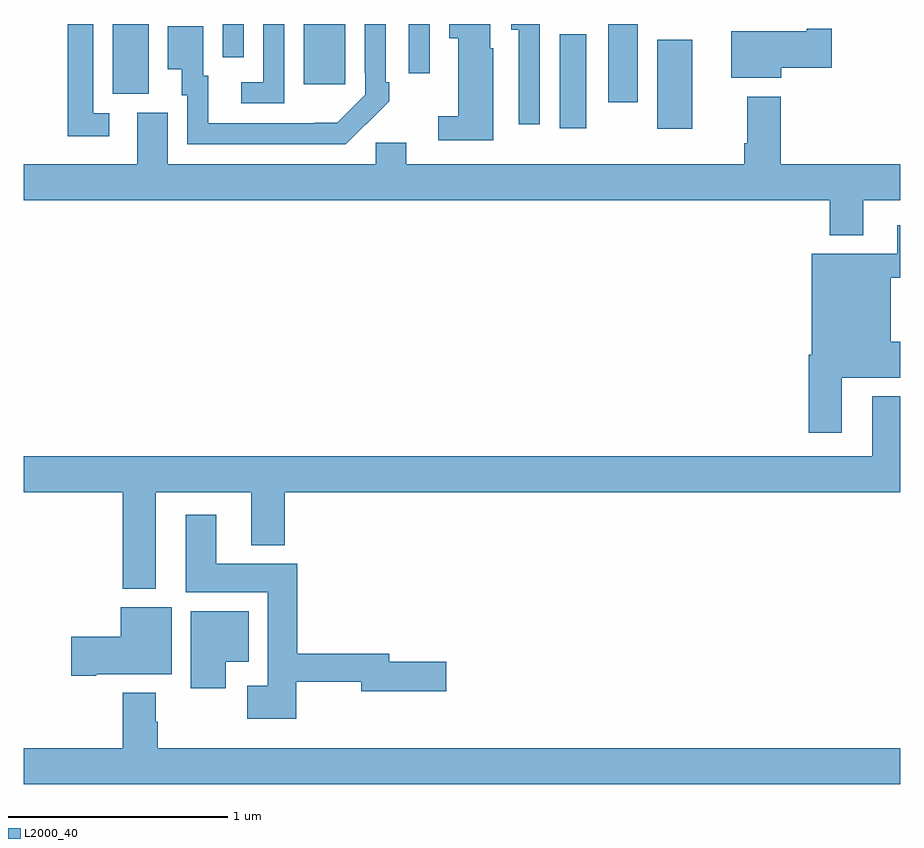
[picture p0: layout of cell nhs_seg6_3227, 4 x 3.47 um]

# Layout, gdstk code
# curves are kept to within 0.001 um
import gdstk
lib = gdstk.Library(unit=1e-6, precision=1e-09)
def R(c, l, rs):  # rectangles x0, y0, x1, y1
    for r in rs: c.add(gdstk.rectangle(r[:2], r[2:], *l))
def P(c, l, *ps):  # polygons
    for p in ps: c.add(gdstk.Polygon(p, *l))
L2000_40 = (2000, 40)

nhs_seg6_3227 = lib.new_cell('nhs_seg6_3227')
R(nhs_seg6_3227, L2000_40, [(303.89,921.021,304.051,921.427), (303.446,921.024,303.568,921.454), (303.668,921.144,303.802,921.5), (301.406,921.181,301.57,921.5), (302.279,921.225,302.467,921.499), (302.757,921.276,302.853,921.5), (301.908,921.348,302.004,921.5)])
P(nhs_seg6_3227, L2000_40, [(303.354,921.5),(303.224,921.5),(303.224,921.473),(303.258,921.473),(303.258,921.042),(303.354,921.042)],
  [(302.561,921.043),(302.562,921.042),(302.667,921.147),(302.667,921.235),(302.652,921.235),(302.652,921.5),(302.556,921.5),(302.556,921.277),(302.559,921.277),(302.559,921.177),(302.431,921.049),(301.843,921.048),(301.843,921.264),(301.819,921.264),(301.819,921.49),(301.658,921.49),(301.658,921.293),(301.721,921.293),(301.721,921.174),(301.746,921.174),(301.746,920.952),(302.47,920.952)],
  [(302.19,921.5),(302.094,921.5),(302.094,921.234),(301.992,921.234),(301.992,921.138),(302.19,921.138)],
  [(303.142,921.39),(303.13,921.39),(303.13,921.5),(302.942,921.5),(302.942,921.434),(302.984,921.434),(302.984,921.079),(302.892,921.079),(302.892,920.97),(303.142,920.97)],
  [(301.39,921.093),(301.317,921.093),(301.317,921.5),(301.201,921.5),(301.201,920.988),(301.39,920.988)],
  [(304.456,921.301),(304.687,921.301),(304.687,921.479),(304.574,921.479),(304.574,921.466),(304.229,921.466),(304.229,921.254),(304.456,921.254)],
  [(304.831,920.696),(305,920.696),(305,920.86),(304.454,920.86),(304.454,921.169),(304.301,921.169),(304.301,920.956),(304.289,920.956),(304.289,920.86),(302.746,920.86),(302.746,920.958),(302.607,920.958),(302.607,920.86),(301.657,920.86),(301.657,921.096),(301.517,921.096),(301.517,920.86),(301,920.86),(301,920.696),(304.679,920.696),(304.679,920.537),(304.831,920.537)],
  [(304.732,919.886),(305,919.886),(305,920.05),(304.957,920.05),(304.957,920.343),(305,920.343),(305,920.581),(304.985,920.581),(304.985,920.452),(304.595,920.452),(304.595,919.99),(304.583,919.99),(304.583,919.635),(304.732,919.635)],
  [(301.603,919.364),(302.039,919.364),(302.039,919.121),(302.192,919.121),(302.192,919.364),(305,919.364),(305,919.801),(304.871,919.801),(304.871,919.528),(301,919.528),(301,919.364),(301.451,919.364),(301.451,918.923),(301.603,918.923)],
  [(302.244,918.498),(302.54,918.498),(302.54,918.455),(302.929,918.455),(302.929,918.59),(302.668,918.59),(302.668,918.626),(302.249,918.626),(302.249,919.036),(301.879,919.036),(301.879,919.261),(301.739,919.261),(301.739,918.908),(302.114,918.908),(302.114,918.481),(302.019,918.481),(302.019,918.329),(302.244,918.329)],
  [(301.33,918.533),(301.675,918.533),(301.675,918.838),(301.442,918.838),(301.442,918.704),(301.218,918.704),(301.218,918.526),(301.33,918.526)],
  [(301.921,918.59),(302.026,918.59),(302.026,918.82),(301.763,918.82),(301.763,918.468),(301.921,918.468)],
  [(305,918.196),(301.611,918.196),(301.611,918.317),(301.603,918.317),(301.603,918.448),(301.451,918.448),(301.451,918.196),(301,918.196),(301,918.032),(305,918.032)])

lib.write_gds('nhs_seg6_3227.gds')
